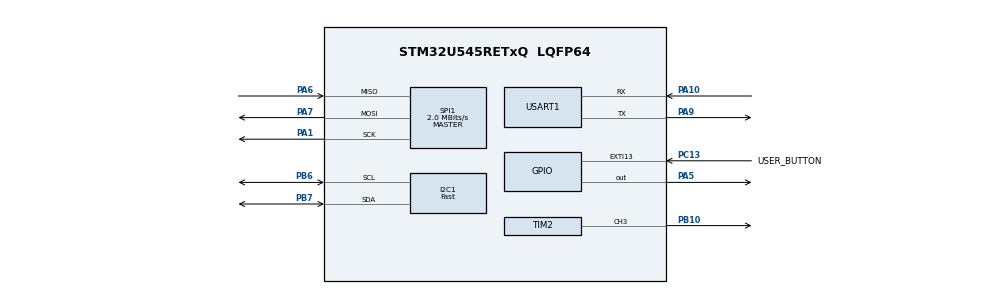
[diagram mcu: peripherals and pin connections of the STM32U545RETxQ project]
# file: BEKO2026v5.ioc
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CORTEX_M33_NS.userName=CORTEX_M33
I2C1.I2C_Speed_Mode=I2C_Fast
I2C1.Timing=0x00000004
Mcu.Family=STM32U5
Mcu.Name=STM32U545RETxQ
Mcu.Package=LQFP64
NVIC.PriorityGroup=NVIC_PRIORITYGROUP_4
PA1.Mode=Full_Duplex_Master
PA1.Signal=SPI1_SCK
PA10.Mode=Asynchronous
PA10.Signal=USART1_RX
PA11.Signal=USB_DM
PA12.Signal=USB_DP
PA13\ (JTMS/SWDIO).Signal=DEBUG_JTMS-SWDIO
PA14\ (JTCK/SWCLK).Signal=DEBUG_JTCK-SWCLK
PA5.Signal=GPIO_Output
PA6.Mode=Full_Duplex_Master
PA6.Signal=SPI1_MISO
PA7.Mode=Full_Duplex_Master
PA7.Signal=SPI1_MOSI
PA9.Mode=Asynchronous
PA9.Signal=USART1_TX
PB10.Signal=S_TIM2_CH3
PB3\ (JTDO/TRACESWO).Signal=DEBUG_JTDO-SWO
PB6.Mode=I2C
PB6.Signal=I2C1_SCL
PB7.Mode=I2C
PB7.Signal=I2C1_SDA
PC13.GPIO_Label=USER_BUTTON
PC13.GPIO_ModeDefaultEXTI=GPIO_MODE_IT_FALLING
PC13.GPIO_PuPd=GPIO_PULLDOWN
PC13.Signal=GPXTI13
PC14-OSC32_IN\ (PC14).Signal=RCC_OSC32_IN
PC15-OSC32_OUT\ (PC15).Signal=RCC_OSC32_OUT
PC2.Signal=ADC1_IN3
PWR.PowerMode=PWR_SMPS_SUPPLY
ProjectManager.HeapSize=0x200
ProjectManager.StackSize=0x400
ProjectManager.TargetToolchain=STM32CubeIDE
RCC.ADCFreq_Value=16000000
RCC.DACCLockSelectionVirtual=RCC_DAC1CLKSOURCE_LSI
RCC.DACCLockSelectionVirtualString=RCC_DAC1CLKSOURCE_LSI
RCC.EPOD_VALUE=4000000
RCC.HSE_VALUE=16000000
RCC.HSI48_VALUE=48000000
RCC.HSI_VALUE=16000000
RCC.LSE_VALUE=32768
RCC.LSIDIV_VALUE=32000
RCC.MSI_VALUE=4000000
RCC.USBFreq_Value=48000000
RCC.VCOOutputFreq_Value=516000000
SH.S_TIM2_CH3.0=TIM2_CH3,PWM Generation3 CH3
SPI1.CalculateBaudRate=2.0 MBits/s
SPI1.DataSize=SPI_DATASIZE_8BIT
SPI1.Direction=SPI_DIRECTION_2LINES
SPI1.Mode=SPI_MODE_MASTER
SPI1.VirtualType=VM_MASTER
TIM2.Channel-PWM\ Generation3\ CH3=TIM_CHANNEL_3
TIM2.PeriodNoDither=19999
TIM2.Prescaler=3
USART1.VirtualMode-Asynchronous=VM_ASYNC
VP_ICACHE_VS_ICACHE.Mode=DirectMappedCache
VP_LPBAMQUEUE_VS_QUEUE.Mode=QUEUEMODE
VP_LPBAM_VS_SIG1.Mode=SmartRun
VP_LPBAM_VS_SIG4.Mode=LPDMA1
VP_MEMORYMAP_VS_MEMORYMAP.Mode=CurAppReg
VP_NUCLEO-U545RE-Q_VS_BSP_COMMON.Mode=COMMON
VP_PWR_VS_LPOM.Mode=PowerOptimisation
VP_PWR_VS_SECSignals.Mode=Security/Privilege
VP_RTC_VS_RTC_Activate.Mode=RTC_Enabled
VP_TIM2_VS_ClockSourceINT.Mode=Internal
board=NUCLEO-U545RE-Q

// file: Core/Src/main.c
/* USER CODE BEGIN Header */
/**
  ******************************************************************************
  * @file           : main.c
  * @brief          : Main program body
  ******************************************************************************
  * @attention
  *
  * Copyright (c) 2026 STMicroelectronics.
  * All rights reserved.
  *
  * This software is licensed under terms that can be found in the LICENSE file
  * in the root directory of this software component.
  * If no LICENSE file comes with this software, it is provided AS-IS.
  *
  ******************************************************************************
  */
/* USER CODE END Header */
#include "main.h"

/* USER CODE BEGIN Includes */
#include "cmox_crypto.h"
#include "crypto_layer.h"
#include "app_template.h"
#include <string.h>
#include <stdio.h>
/* USER CODE END Includes */

I2C_HandleTypeDef hi2c1;

RTC_HandleTypeDef hrtc;

SPI_HandleTypeDef hspi1;

TIM_HandleTypeDef htim2;

UART_HandleTypeDef huart1;

void SystemClock_Config(void);
static void SystemPower_Config(void);
static void MX_GPIO_Init(void);
static void MX_ICACHE_Init(void);
static void MX_USART1_UART_Init(void);
static void MX_I2C1_Init(void);
static void MX_RTC_Init(void);
static void MX_SPI1_Init(void);
static void MX_TIM2_Init(void);
/* USER CODE BEGIN PFP */
cmox_mac_retval_t calculate_hmac_sha256(const uint8_t *key, size_t key_len,
                                        const uint8_t *data, size_t data_len,
                                        uint8_t *output_hmac);
/* USER CODE END PFP */

/* USER CODE BEGIN 0 */

/**
 * @brief Retargets printf() to USART1 via the newlib _write syscall hook.
 *        All standard output is forwarded to the ST-Link Virtual COM Port.
 */
int _write(int file, char *ptr, int len)
{
    (void)file;
    HAL_UART_Transmit(&huart1, (uint8_t*)ptr, len, HAL_MAX_DELAY);
    return len;
}

/* USER CODE END 0 */

int main(void)
{

  /* MCU Configuration--------------------------------------------------------*/

  /* Reset of all peripherals, Initializes the Flash interface and the Systick. */
  HAL_Init();

  /* Configure the System Power */
  SystemPower_Config();

  /* Configure the system clock */
  SystemClock_Config();

  /* Initialize all configured peripherals */
  MX_GPIO_Init();
  MX_ICACHE_Init();
  MX_USART1_UART_Init();
  MX_I2C1_Init();
  MX_RTC_Init();
  MX_SPI1_Init();
  MX_TIM2_Init();
  /* USER CODE BEGIN 2 */

  /* Start TIM2 PWM on CH3 (PB10 → servo signal, 50 Hz). */
  HAL_TIM_PWM_Start(&htim2, TIM_CHANNEL_3);

  /* Initialise the STM32 cryptographic accelerator (X-CUBE-CRYPTOLIB). */
  cmox_init_arg_t init_target = {CMOX_INIT_TARGET_AUTO, NULL};
  if (cmox_initialize(&init_target) != CMOX_INIT_SUCCESS)
  {
    Error_Handler();
  }

  /* --- Crypto smoke-test and demo: AES-128-CTR + HMAC-SHA256 --- */
  static const uint8_t aes_key[16] = {
      0xAE,0x68,0x52,0xF8,0x12,0x10,0x67,0xCC,
      0x4B,0xF7,0xA5,0x76,0x55,0x77,0xF3,0x9E
  };

  /* Self-test: encrypt → decrypt → tamper detection. */
  crypto_self_test();

  /* Reinitialise with the application key after the self-test resets state. */
  crypto_init(aes_key);

  const char *msg = "BEKO_AZI=090";
  encrypted_data_t pkt;
  uint8_t dec_buf[CRYPTO_MAX_DATA];
  size_t  dec_len = 0;

  if (crypto_encrypt((const uint8_t *)msg, strlen(msg), &pkt) == 0)
  {
      printf("TX gotowy. Rozmiar pakietu: %d B\r\n",
             16 + CRYPTO_MIC_SIZE + pkt.ciphertext_len);
  }

  if (crypto_decrypt(&pkt, pkt.ciphertext_len, dec_buf, &dec_len) == 0)
  {
      dec_buf[dec_len] = '\0';
      printf("RX odszyfrowano: \"%s\"\r\n", (char *)dec_buf);
  }
  /* --- koniec DEMO --- */

  /* USER CODE END 2 */

  /* Infinite loop */
  /* USER CODE BEGIN WHILE */

  while (1)
  {
		HAL_Delay(5000);
		printf("Start App\n");
		app_main();

    /* USER CODE END WHILE */

    /* USER CODE BEGIN 3 */
  }
  cmox_finalize(NULL);
  /* USER CODE END 3 */
}

void SystemClock_Config(void)
{
  RCC_OscInitTypeDef RCC_OscInitStruct = {0};
  RCC_ClkInitTypeDef RCC_ClkInitStruct = {0};

  /** Configure the main internal regulator output voltage
  */
  if (HAL_PWREx_ControlVoltageScaling(PWR_REGULATOR_VOLTAGE_SCALE4) != HAL_OK)
  {
    Error_Handler();
  }

  /** Initializes the CPU, AHB and APB buses clocks
  */
  RCC_OscInitStruct.OscillatorType = RCC_OSCILLATORTYPE_LSI|RCC_OSCILLATORTYPE_MSI;
  RCC_OscInitStruct.LSIState = RCC_LSI_ON;
  RCC_OscInitStruct.MSIState = RCC_MSI_ON;
  RCC_OscInitStruct.MSICalibrationValue = RCC_MSICALIBRATION_DEFAULT;
  RCC_OscInitStruct.MSIClockRange = RCC_MSIRANGE_4;
  RCC_OscInitStruct.LSIDiv = RCC_LSI_DIV1;
  RCC_OscInitStruct.PLL.PLLState = RCC_PLL_NONE;
  if (HAL_RCC_OscConfig(&RCC_OscInitStruct) != HAL_OK)
  {
    Error_Handler();
  }

  /** Initializes the CPU, AHB and APB buses clocks
  */
  RCC_ClkInitStruct.ClockType = RCC_CLOCKTYPE_HCLK|RCC_CLOCKTYPE_SYSCLK
                              |RCC_CLOCKTYPE_PCLK1|RCC_CLOCKTYPE_PCLK2
                              |RCC_CLOCKTYPE_PCLK3;
  RCC_ClkInitStruct.SYSCLKSource = RCC_SYSCLKSOURCE_MSI;
  RCC_ClkInitStruct.AHBCLKDivider = RCC_SYSCLK_DIV1;
  RCC_ClkInitStruct.APB1CLKDivider = RCC_HCLK_DIV1;
  RCC_ClkInitStruct.APB2CLKDivider = RCC_HCLK_DIV1;
  RCC_ClkInitStruct.APB3CLKDivider = RCC_HCLK_DIV1;

  if (HAL_RCC_ClockConfig(&RCC_ClkInitStruct, FLASH_LATENCY_0) != HAL_OK)
  {
    Error_Handler();
  }
}

/**
  * @brief Power Configuration
  * @retval None
  */
static void SystemPower_Config(void)
{

  /*
   * Switch to SMPS regulator instead of LDO
   */
  if (HAL_PWREx_ConfigSupply(PWR_SMPS_SUPPLY) != HAL_OK)
  {
    Error_Handler();
  }
}

static void MX_I2C1_Init(void)
{

  hi2c1.Instance = I2C1;
  hi2c1.Init.Timing = 0x00000004;
  hi2c1.Init.OwnAddress1 = 0;
  hi2c1.Init.AddressingMode = I2C_ADDRESSINGMODE_7BIT;
  hi2c1.Init.DualAddressMode = I2C_DUALADDRESS_DISABLE;
  hi2c1.Init.OwnAddress2 = 0;
  hi2c1.Init.OwnAddress2Masks = I2C_OA2_NOMASK;
  hi2c1.Init.GeneralCallMode = I2C_GENERALCALL_DISABLE;
  hi2c1.Init.NoStretchMode = I2C_NOSTRETCH_DISABLE;
  if (HAL_I2C_Init(&hi2c1) != HAL_OK)
  {
    Error_Handler();
  }

  /** Configure Analogue filter
  */
  if (HAL_I2CEx_ConfigAnalogFilter(&hi2c1, I2C_ANALOGFILTER_ENABLE) != HAL_OK)
  {
    Error_Handler();
  }

  /** Configure Digital filter
  */
  if (HAL_I2CEx_ConfigDigitalFilter(&hi2c1, 0) != HAL_OK)
  {
    Error_Handler();
  }

}

static void MX_ICACHE_Init(void)
{

  /** Enable instruction cache in 1-way (direct mapped cache)
  */
  if (HAL_ICACHE_ConfigAssociativityMode(ICACHE_1WAY) != HAL_OK)
  {
    Error_Handler();
  }
  if (HAL_ICACHE_Enable() != HAL_OK)
  {
    Error_Handler();
  }

}

static void MX_RTC_Init(void)
{

  RTC_PrivilegeStateTypeDef privilegeState = {0};

  /** Initialize RTC Only
  */
  hrtc.Instance = RTC;
  hrtc.Init.HourFormat = RTC_HOURFORMAT_24;
  hrtc.Init.AsynchPrediv = 127;
  hrtc.Init.SynchPrediv = 255;
  hrtc.Init.OutPut = RTC_OUTPUT_DISABLE;
  hrtc.Init.OutPutRemap = RTC_OUTPUT_REMAP_NONE;
  hrtc.Init.OutPutPolarity = RTC_OUTPUT_POLARITY_HIGH;
  hrtc.Init.OutPutType = RTC_OUTPUT_TYPE_OPENDRAIN;
  hrtc.Init.OutPutPullUp = RTC_OUTPUT_PULLUP_NONE;
  hrtc.Init.BinMode = RTC_BINARY_NONE;
  if (HAL_RTC_Init(&hrtc) != HAL_OK)
  {
    Error_Handler();
  }
  privilegeState.rtcPrivilegeFull = RTC_PRIVILEGE_FULL_NO;
  privilegeState.backupRegisterPrivZone = RTC_PRIVILEGE_BKUP_ZONE_NONE;
  privilegeState.backupRegisterStartZone2 = RTC_BKP_DR0;
  privilegeState.backupRegisterStartZone3 = RTC_BKP_DR0;
  if (HAL_RTCEx_PrivilegeModeSet(&hrtc, &privilegeState) != HAL_OK)
  {
    Error_Handler();
  }

}

static void MX_SPI1_Init(void)
{

  SPI_AutonomousModeConfTypeDef HAL_SPI_AutonomousMode_Cfg_Struct = {0};

  /* SPI1 parameter configuration*/
  hspi1.Instance = SPI1;
  hspi1.Init.Mode = SPI_MODE_MASTER;
  hspi1.Init.Direction = SPI_DIRECTION_2LINES;
  hspi1.Init.DataSize = SPI_DATASIZE_8BIT;
  hspi1.Init.CLKPolarity = SPI_POLARITY_LOW;
  hspi1.Init.CLKPhase = SPI_PHASE_1EDGE;
  hspi1.Init.NSS = SPI_NSS_SOFT;
  hspi1.Init.BaudRatePrescaler = SPI_BAUDRATEPRESCALER_2;
  hspi1.Init.FirstBit = SPI_FIRSTBIT_MSB;
  hspi1.Init.TIMode = SPI_TIMODE_DISABLE;
  hspi1.Init.CRCCalculation = SPI_CRCCALCULATION_DISABLE;
  hspi1.Init.CRCPolynomial = 0x7;
  hspi1.Init.NSSPMode = SPI_NSS_PULSE_ENABLE;
  hspi1.Init.NSSPolarity = SPI_NSS_POLARITY_LOW;
  hspi1.Init.FifoThreshold = SPI_FIFO_THRESHOLD_01DATA;
  hspi1.Init.MasterSSIdleness = SPI_MASTER_SS_IDLENESS_00CYCLE;
  hspi1.Init.MasterInterDataIdleness = SPI_MASTER_INTERDATA_IDLENESS_00CYCLE;
  hspi1.Init.MasterReceiverAutoSusp = SPI_MASTER_RX_AUTOSUSP_DISABLE;
  hspi1.Init.MasterKeepIOState = SPI_MASTER_KEEP_IO_STATE_DISABLE;
  hspi1.Init.IOSwap = SPI_IO_SWAP_DISABLE;
  hspi1.Init.ReadyMasterManagement = SPI_RDY_MASTER_MANAGEMENT_INTERNALLY;
  hspi1.Init.ReadyPolarity = SPI_RDY_POLARITY_HIGH;
  if (HAL_SPI_Init(&hspi1) != HAL_OK)
  {
    Error_Handler();
  }
  HAL_SPI_AutonomousMode_Cfg_Struct.TriggerState = SPI_AUTO_MODE_DISABLE;
  HAL_SPI_AutonomousMode_Cfg_Struct.TriggerSelection = SPI_GRP1_GPDMA_CH0_TCF_TRG;
  HAL_SPI_AutonomousMode_Cfg_Struct.TriggerPolarity = SPI_TRIG_POLARITY_RISING;
  if (HAL_SPIEx_SetConfigAutonomousMode(&hspi1, &HAL_SPI_AutonomousMode_Cfg_Struct) != HAL_OK)
  {
    Error_Handler();
  }

}

static void MX_TIM2_Init(void)
{

  TIM_ClockConfigTypeDef sClockSourceConfig = {0};
  TIM_MasterConfigTypeDef sMasterConfig = {0};
  TIM_OC_InitTypeDef sConfigOC = {0};

  htim2.Instance = TIM2;
  htim2.Init.Prescaler = 3;
  htim2.Init.CounterMode = TIM_COUNTERMODE_UP;
  htim2.Init.Period = 19999;
  htim2.Init.ClockDivision = TIM_CLOCKDIVISION_DIV1;
  htim2.Init.AutoReloadPreload = TIM_AUTORELOAD_PRELOAD_DISABLE;
  if (HAL_TIM_Base_Init(&htim2) != HAL_OK)
  {
    Error_Handler();
  }
  sClockSourceConfig.ClockSource = TIM_CLOCKSOURCE_INTERNAL;
  if (HAL_TIM_ConfigClockSource(&htim2, &sClockSourceConfig) != HAL_OK)
  {
    Error_Handler();
  }
  if (HAL_TIM_PWM_Init(&htim2) != HAL_OK)
  {
    Error_Handler();
  }
  sMasterConfig.MasterOutputTrigger = TIM_TRGO_RESET;
  sMasterConfig.MasterSlaveMode = TIM_MASTERSLAVEMODE_DISABLE;
  if (HAL_TIMEx_MasterConfigSynchronization(&htim2, &sMasterConfig) != HAL_OK)
  {
    Error_Handler();
  }
  sConfigOC.OCMode = TIM_OCMODE_PWM1;
  sConfigOC.Pulse = 0;
  sConfigOC.OCPolarity = TIM_OCPOLARITY_HIGH;
  sConfigOC.OCFastMode = TIM_OCFAST_DISABLE;
  if (HAL_TIM_PWM_ConfigChannel(&htim2, &sConfigOC, TIM_CHANNEL_3) != HAL_OK)
  {
    Error_Handler();
  }
  HAL_TIM_MspPostInit(&htim2);

}

static void MX_USART1_UART_Init(void)
{

  huart1.Instance = USART1;
  huart1.Init.BaudRate = 115200;
  huart1.Init.WordLength = UART_WORDLENGTH_8B;
  huart1.Init.StopBits = UART_STOPBITS_1;
  huart1.Init.Parity = UART_PARITY_NONE;
  huart1.Init.Mode = UART_MODE_TX_RX;
  huart1.Init.HwFlowCtl = UART_HWCONTROL_NONE;
  huart1.Init.OverSampling = UART_OVERSAMPLING_16;
  huart1.Init.OneBitSampling = UART_ONE_BIT_SAMPLE_DISABLE;
  huart1.Init.ClockPrescaler = UART_PRESCALER_DIV1;
  huart1.AdvancedInit.AdvFeatureInit = UART_ADVFEATURE_NO_INIT;
  if (HAL_UART_Init(&huart1) != HAL_OK)
  {
    Error_Handler();
  }
  if (HAL_UARTEx_SetTxFifoThreshold(&huart1, UART_TXFIFO_THRESHOLD_1_8) != HAL_OK)
  {
    Error_Handler();
  }
  if (HAL_UARTEx_SetRxFifoThreshold(&huart1, UART_RXFIFO_THRESHOLD_1_8) != HAL_OK)
  {
    Error_Handler();
  }
  if (HAL_UARTEx_DisableFifoMode(&huart1) != HAL_OK)
  {
    Error_Handler();
  }

}

static void MX_GPIO_Init(void)
{
  GPIO_InitTypeDef GPIO_InitStruct = {0};

  /* GPIO Ports Clock Enable */
  __HAL_RCC_GPIOC_CLK_ENABLE();
  __HAL_RCC_GPIOA_CLK_ENABLE();
  __HAL_RCC_GPIOB_CLK_ENABLE();

  /*Configure GPIO pin Output Level */
  HAL_GPIO_WritePin(GPIOA, GPIO_PIN_5, GPIO_PIN_RESET);

  /*Configure GPIO pin : USER_BUTTON_Pin */
  GPIO_InitStruct.Pin = USER_BUTTON_Pin;
  GPIO_InitStruct.Mode = GPIO_MODE_IT_FALLING;
  GPIO_InitStruct.Pull = GPIO_PULLDOWN;
  HAL_GPIO_Init(USER_BUTTON_GPIO_Port, &GPIO_InitStruct);

  /*Configure GPIO pin : PC2 */
  GPIO_InitStruct.Pin = GPIO_PIN_2;
  GPIO_InitStruct.Mode = GPIO_MODE_ANALOG;
  GPIO_InitStruct.Pull = GPIO_NOPULL;
  HAL_GPIO_Init(GPIOC, &GPIO_InitStruct);

  /*Configure GPIO pin : PA5 */
  GPIO_InitStruct.Pin = GPIO_PIN_5;
  GPIO_InitStruct.Mode = GPIO_MODE_OUTPUT_PP;
  GPIO_InitStruct.Pull = GPIO_NOPULL;
  GPIO_InitStruct.Speed = GPIO_SPEED_FREQ_LOW;
  HAL_GPIO_Init(GPIOA, &GPIO_InitStruct);

}

/* USER CODE BEGIN 4 */

/**
 * @brief Computes HMAC-SHA256 using the X-CUBE-CRYPTOLIB single-call API.
 *
 * @param key         Pointer to the HMAC key buffer.
 * @param key_len     Key length in bytes.
 * @param data        Pointer to the input data buffer.
 * @param data_len    Input data length in bytes.
 * @param output_hmac Output buffer — must hold at least 32 bytes (SHA-256 digest).
 * @return            cmox_mac_retval_t status (CMOX_MAC_SUCCESS = OK).
 */
cmox_mac_retval_t calculate_hmac_sha256(const uint8_t *key, size_t key_len,
                                        const uint8_t *data, size_t data_len,
                                        uint8_t *output_hmac)
{
  size_t computed_size;

  return cmox_mac_compute(CMOX_HMAC_SHA256_ALGO,
                          data, data_len,        /* Input data             */
                          key,  key_len,          /* HMAC key               */
                          NULL, 0,               /* Additional data — none */
                          output_hmac, 32,       /* Output (32 bytes)      */
                          &computed_size);
}

/* USER CODE END 4 */

void Error_Handler(void)
{
  __disable_irq();
  while (1)
  {
  }
}
